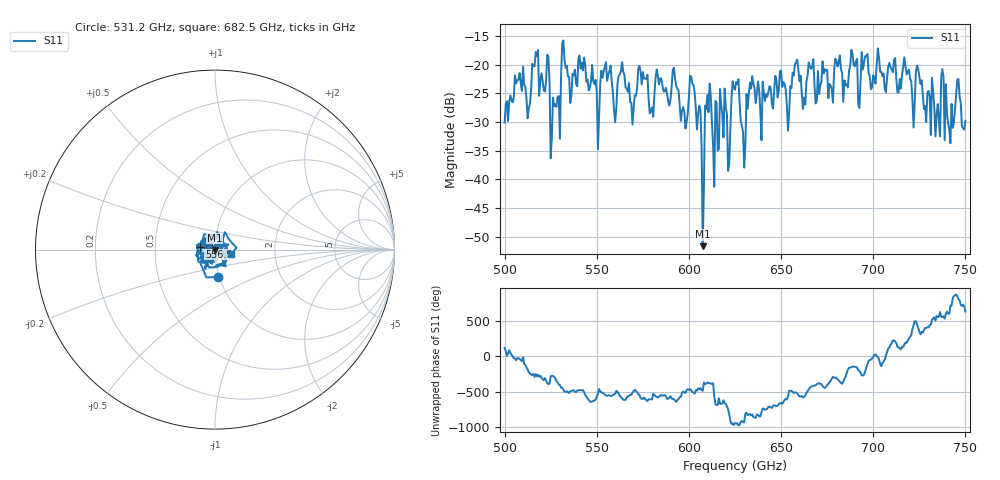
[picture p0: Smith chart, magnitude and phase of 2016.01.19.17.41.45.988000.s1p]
!Created with skrf (http://scikit-rf.org).
# GHz S RI R 50.0
!freq ReS11 ImS11
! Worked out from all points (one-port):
!   401 points, 500 GHz to 750 GHz, reference 50 ohm
!   lowest |S11| = -51.7 dB at 607.5 GHz (marker M1), VSWR 1.01, Z = 49.8 - j0.207 ohm
!   |S11| at or under -10 dB: start of sweep to end of sweep
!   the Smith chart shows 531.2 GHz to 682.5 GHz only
!   S11 on the Smith chart (normalised r, x): 531.2 GHz: 0.98, -0.31; 556.9 GHz: 0.84, +0.03; 682.5 GHz: 1.19, -0.06
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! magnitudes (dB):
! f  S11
! 500 GHz  -30.1
! 506.9 GHz  -22.8
! 513.1 GHz  -27.7
! 516.9 GHz  -17.8
! 526.2 GHz  -25.8
! 531.2 GHz  -16.3
! 550 GHz  -24.7
! 556.9 GHz  -21.1
! 560 GHz  -30.1
! 562.5 GHz  -21.7
! 569.4 GHz  -30.5
! 573.8 GHz  -21.1
! 579.4 GHz  -28.1
! 593.8 GHz  -24.2
! 598.1 GHz  -31.2
! 601.9 GHz  -23.3
! 607.5 GHz  -51.7
! 610 GHz  -25.3
! 621.2 GHz  -38.5
! 625 GHz  -24.4
! 629.4 GHz  -31.9
! 633.8 GHz  -24.2
! 656.2 GHz  -21.4
! 682.5 GHz  -20.8
! 687.5 GHz  -20.3
! 718.8 GHz  -21.2
! 746.2 GHz  -22.5
! 750 GHz  -29.8
